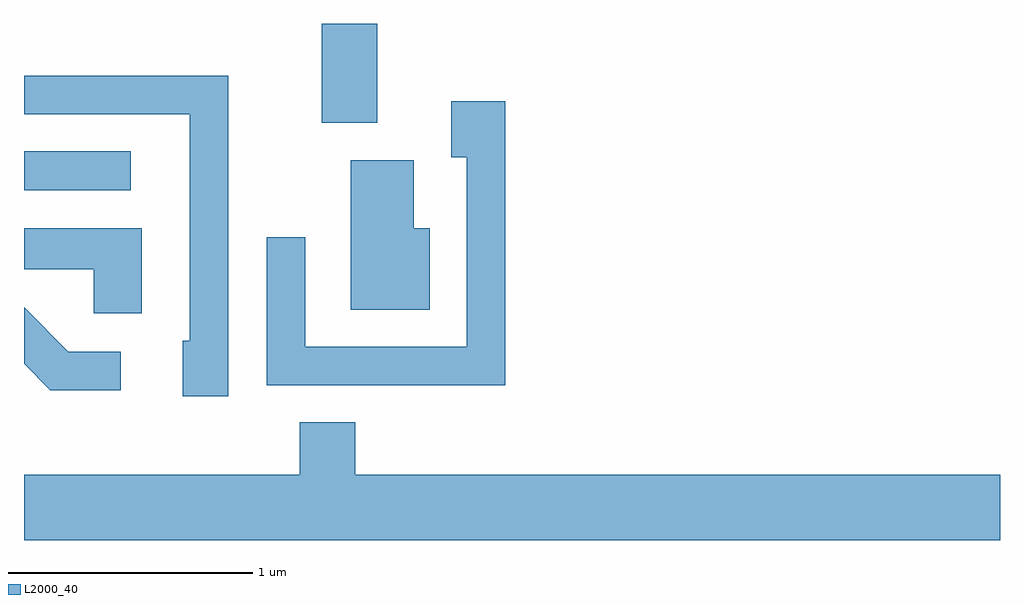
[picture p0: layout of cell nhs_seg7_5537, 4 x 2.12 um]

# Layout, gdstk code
import gdstk
lib = gdstk.Library(unit=1e-6, precision=1e-09)
def R(c, l, rs):  # rectangles x0, y0, x1, y1
    for r in rs: c.add(gdstk.rectangle(r[:2], r[2:], *l))
def P(c, l, *ps):  # polygons
    for p in ps: c.add(gdstk.Polygon(p, *l))
L2000_40 = (2000, 40)

nhs_seg7_5537 = lib.new_cell('nhs_seg7_5537')
R(nhs_seg7_5537, L2000_40, [(355.611,1673.571,356.048,1673.729), (356.831,1673.846,357.059,1674.252)])
P(nhs_seg7_5537, L2000_40, [(356.449,1674.039),(355.611,1674.039),(355.611,1673.881),(356.291,1673.881),(356.291,1672.954),(356.261,1672.954),(356.261,1672.726),(356.449,1672.726)],
  [(357.584,1673.934),(357.361,1673.934),(357.361,1673.706),(357.426,1673.706),(357.426,1672.929),(356.764,1672.929),(356.764,1673.378),(356.606,1673.378),(356.606,1672.771),(357.584,1672.771)],
  [(357.274,1673.414),(357.209,1673.414),(357.209,1673.694),(356.951,1673.694),(356.951,1673.081),(357.274,1673.081)],
  [(356.094,1673.414),(355.611,1673.414),(355.611,1673.246),(355.896,1673.246),(355.896,1673.066),(356.094,1673.066)],
  [(356.008,1672.909),(355.792,1672.909),(355.611,1673.09),(355.611,1672.859),(355.719,1672.751),(356.008,1672.751)],
  [(359.611,1672.404),(356.969,1672.404),(356.969,1672.619),(356.741,1672.619),(356.741,1672.404),(355.611,1672.404),(355.611,1672.136),(359.611,1672.136)])

lib.write_gds('nhs_seg7_5537.gds')
